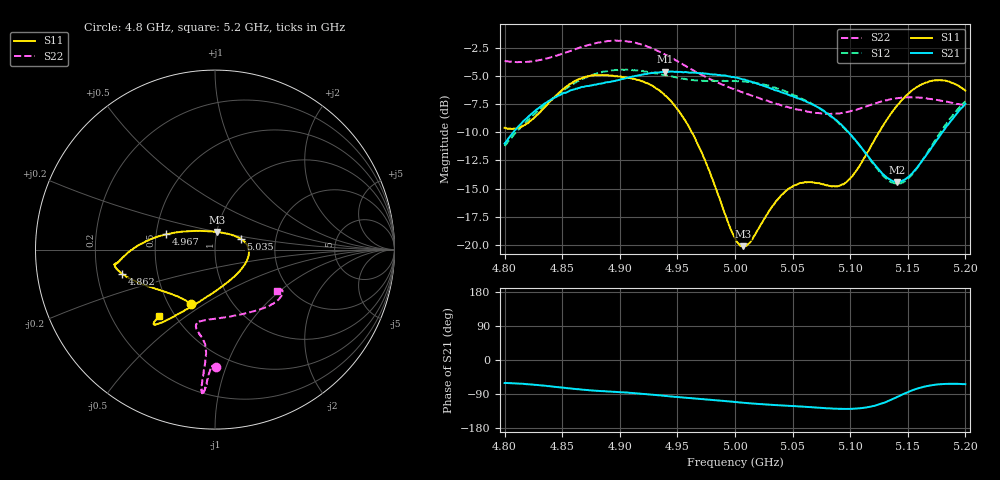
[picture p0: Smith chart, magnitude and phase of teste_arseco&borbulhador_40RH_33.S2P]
! Network Analyzer HP8722D
! Hewlett-Packard
! Data name: Linha & Wilkinson
! Saver's name: Rodrigo Anjos
! Comments: Teste da utilização de aquisição
! continua pelo VNA HP8722D
! Time and date: 15/4/2025 16:37
!  Frequency  S11  S21  S12  S22
# HZ  S  MA R 50
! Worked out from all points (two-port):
!   401 points, 4.8 GHz to 5.2 GHz, reference 50 ohm
!   highest |S21| = -4.63 dB at 4.939 GHz (marker M1); lowest = -14.4 dB at 5.141 GHz (marker M2)
!   |S21| within 3 dB of the highest: 4.832 GHz to 5.069 GHz (236.5 MHz wide, 4.78 % of centre); 5.198727 GHz to end of sweep
!   lowest |S11| = -20.1 dB at 5.007 GHz (marker M3), VSWR 1.22, Z = 50.1 + j9.96 ohm
!   |S11| at or under -10 dB: 4.962 GHz to 5.125 GHz (162.5 MHz wide, 3.22 % of centre)
!   |S22| runs from -8.4 to -1.9 dB; largest |S21 - S12| = 0.88
!   S11 on the Smith chart (normalised r, x): 4.8 GHz: 0.65, -0.44; 4.862 GHz: 0.31, -0.12; 4.967 GHz: 0.57, +0.10; 5.035 GHz: 1.32, +0.17; 5.2 GHz: 0.41, -0.40
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4.8e9  0.3307 -113.6  0.2815 -60.7  0.2749 -175.0  0.6548 -89.5
4.819e9  0.3446 -133.4  0.3644 -63.8  0.3523 -173.3  0.6477 -91.1
4.862e9  0.5358 -165.5  0.4929 -76.6  0.526 -176.3  0.7403 -93.5
4.867e9  0.549 -167.4  0.5019 -78.2  0.5427 -177.4  0.7545 -93.7
4.902e9  0.5547 -172.1  0.544 -85.2  0.5984 175.4  0.802 -95.1
4.934e9  0.4854 -178.0  0.5811 -93.4  0.5728 172.0  0.7203 -95.5
4.939e9  0.461 -180.0  0.5868 -94.6  0.5669 171.9  0.6994 -95.3
4.953e9  0.381 172.6  0.5847 -98.4  0.5455 172.6  0.639 -94.9
4.967e9  0.2846 162.6  0.5789 -102.0  0.5362 174.1  0.5807 -94.9
5e9  0.1074 107.5  0.5523 -110.9  0.5336 176.6  0.488 -99.2
5.007e9  0.09901 83.7  0.541 -112.5  0.5297 176.3  0.4734 -101.0
5.014e9  0.1045 61.4  0.5298 -114.6  0.5258 176.3  0.4599 -102.5
5.035e9  0.1551 23.2  0.4846 -119.0  0.4983 175.3  0.4238 -103.8
5.049e9  0.1807 8.2  0.4578 -121.3  0.4668 174.6  0.4053 -100.7
5.067e9  0.19 -11.0  0.42 -124.8  0.4217 174.1  0.3872 -92.1
5.086e9  0.1826 -41.5  0.3637 -128.4  0.3609 173.7  0.3825 -77.7
5.097e9  0.1906 -64.6  0.3214 -129.0  0.321 174.5  0.3882 -68.5
5.134e9  0.373 -116.0  0.1959 -107.0  0.1917 -159.9  0.4415 -43.4
5.141e9  0.4166 -120.0  0.1907 -97.3  0.1873 -149.0  0.4475 -40.2
5.153e9  0.4814 -124.8  0.2062 -81.1  0.2033 -130.3  0.4517 -35.9
5.171e9  0.5339 -128.7  0.2726 -66.5  0.2769 -112.3  0.4428 -31.8
5.2e9  0.4833 -130.3  0.4223 -63.9  0.4336 -106.0  0.415 -33.4
